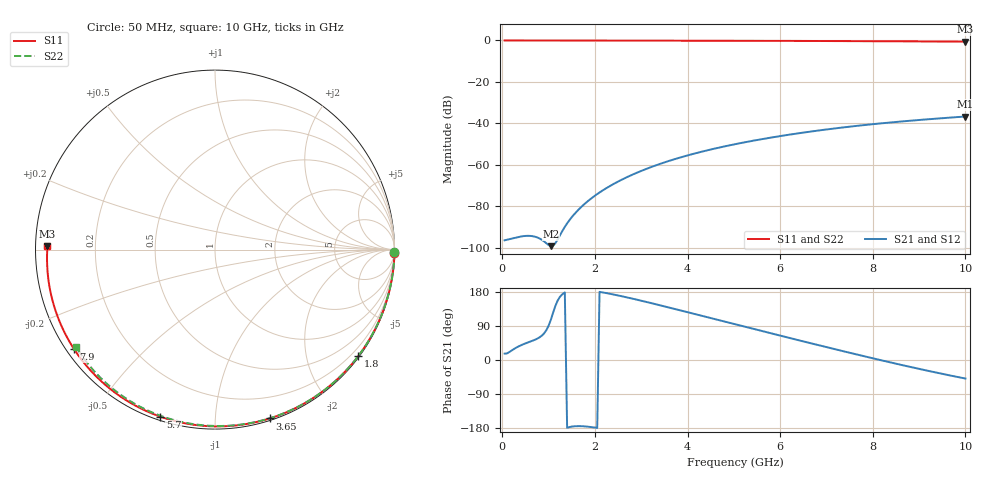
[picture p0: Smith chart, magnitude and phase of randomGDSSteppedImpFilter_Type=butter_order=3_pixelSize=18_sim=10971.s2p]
! freq	dB(S11)	phase(S11)	dB(S12)	phase(S12)
!  dB(S21)	phase(S21)	dB(S22)	phase(S22)
!S-par simulation data
#  GHz  S  DB  R 50
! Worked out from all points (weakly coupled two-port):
!   200 points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, 50 MHz to 10 GHz, reference 50 ohm
!   highest |S21| = -36.65 dB at 10 GHz (marker M1); lowest = -99.1 dB at 1.05 GHz (marker M2)
!   lowest |S11| = -0.6 dB at 10 GHz (marker M3), VSWR 29.12, Z = 1.72 + j0.513 ohm
!   |S11| at or under -10 dB: nowhere
!   |S22| runs from -0.5 to 0.0 dB; largest |S21 - S12| = 0
!   S11 on the Smith chart (normalised r, x): 50 MHz: open; 1.8 GHz: 0.03, -3.02; 3.65 GHz: 0.02, -1.38; 5.7 GHz: 0.02, -0.72; 7.9 GHz: 0.02, -0.32; 10 GHz: 0.03, +0.01
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0.05  -0.00 -1.0  -96.29 16.8  -96.29 16.8  -0.00 -0.8
0.55  -0.01 -11.4  -94.13 46.1  -94.13 46.1  -0.01 -9.2
1.05  -0.03 -21.6  -99.12 106.7  -99.12 106.7  -0.02 -17.5
1.7  -0.04 -34.6  -80.33 -174.6  -80.33 -174.6  -0.04 -28.1
1.75  -0.05 -35.6  -79.30 -174.9  -79.30 -174.9  -0.04 -28.9
1.8  -0.05 -36.6  -78.31 -175.4  -78.31 -175.4  -0.04 -29.7
2.1  -0.05 -42.5  -73.25 179.8  -73.25 179.8  -0.04 -34.5
2.3  -0.06 -46.4  -70.45 175.3  -70.45 175.3  -0.05 -37.7
2.5  -0.06 -50.3  -67.99 170.4  -67.99 170.4  -0.05 -40.9
2.9  -0.08 -58.0  -63.79 159.4  -63.79 159.4  -0.06 -47.2
3.4  -0.09 -67.4  -59.52 144.6  -59.52 144.6  -0.07 -54.9
3.65  -0.10 -72.0  -57.69 137.0  -57.69 137.0  -0.08 -58.7
4.35  -0.12 -84.7  -53.35 115.2  -53.35 115.2  -0.10 -69.2
5.05  -0.15 -97.0  -49.88 93.4  -49.88 93.4  -0.12 -79.3
5.7  -0.18 -108.1  -47.18 73.4  -47.18 73.4  -0.15 -88.4
6.2  -0.21 -116.5  -45.38 58.1  -45.38 58.1  -0.17 -95.3
6.7  -0.24 -124.9  -43.77 43.0  -43.77 43.0  -0.20 -102.0
7.3  -0.29 -134.8  -42.06 25.0  -42.06 25.0  -0.24 -110.0
7.9  -0.34 -144.8  -40.57 7.4  -40.57 7.4  -0.28 -117.8
8.35  -0.39 -152.3  -39.58 -5.5  -39.58 -5.5  -0.32 -123.6
9.2  -0.49 -166.9  -37.96 -28.7  -37.96 -28.7  -0.40 -134.5
10  -0.60 178.8  -36.65 -48.9  -36.65 -48.9  -0.49 -144.8
